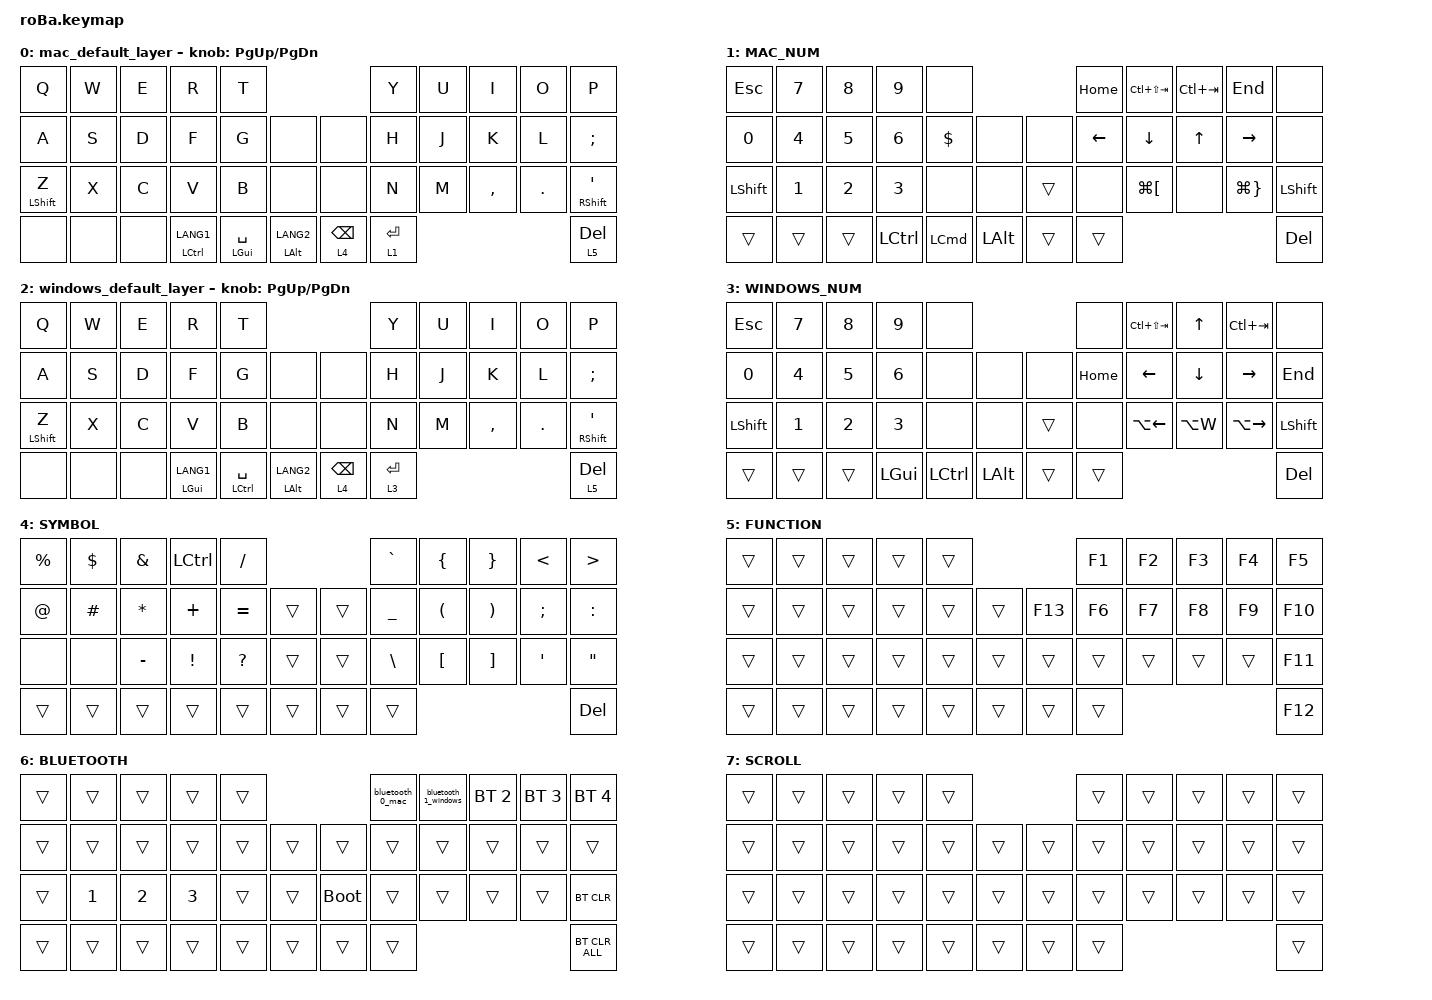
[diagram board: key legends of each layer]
#include <behaviors.dtsi>
#include <dt-bindings/zmk/bt.h>
#include <dt-bindings/zmk/keys.h>
#include <dt-bindings/zmk/pointing.h>

&mt {
    flavor = "balanced";
    quick-tap-ms = <0>;
};

&trackball {
    scroll-layers = <7>;

    // arrows {
    //     layers = <3>;
    //     bindings =
    //         <&kp RIGHT_ARROW>,
    //         <&kp LEFT_ARROW>,
    //         <&kp UP_ARROW>,
    //         <&kp DOWN_ARROW>;
    //     tick = <10>;
    //     wait-ms = <5>;
    //     tap-ms = <5>;
    // };
};

/ {
    combos {
        compatible = "zmk,combos";

        tab {
            bindings = <&kp TAB>;
            key-positions = <13 12>;
        };

        combo_mb1 {
            bindings = <&mkp MB1>;
            key-positions = <18 19>;
        };

        combo_mb2 {
            bindings = <&mkp MB2>;
            key-positions = <19 20>;
        };

        SCROll {
            bindings = <&lt 7 C_AL_JOURNAL>;
            key-positions = <18 20>;
        };

        bluetooth {
            bindings = <&lt 6 LANG2>;
            key-positions = <39 40>;
        };
    };

    macros {
        to_layer_0: to_layer_0 {
            compatible = "zmk,behavior-macro-one-param";
            #binding-cells = <1>;
            bindings = <&to 0 &macro_param_1to1 &kp MACRO_PLACEHOLDER>;
            label = "TO_LAYER_0";
        };

        bluetooth_0_mac: bluetooth_0_mac {
            compatible = "zmk,behavior-macro";
            #binding-cells = <0>;
            bindings = <&to 0>, <&macro_wait_time 200>, <&bt BT_SEL 0>;

            label = "BLUETOOTH_0_MAC";
        };

        bluetooth_1_windows: bluetooth_1_windows {
            compatible = "zmk,behavior-macro";
            #binding-cells = <0>;
            bindings = <&to 2>, <&macro_wait_time 200>, <&bt BT_SEL 1>;

            label = "BLUETOOTH_1_WINDOWS";
        };
    };

    behaviors {
        lt_to_layer_0: lt_to_layer_0 {
            compatible = "zmk,behavior-hold-tap";
            label = "LAYER_TAP_TO_0";
            bindings = <&mo>, <&to_layer_0>;

            #binding-cells = <2>;
            tapping-term-ms = <200>;
        };
    };

    keymap {
        compatible = "zmk,keymap";

        mac_default_layer {
            bindings = <
&kp Q             &kp W  &kp E  &kp R            &kp T                                                    &kp Y        &kp U  &kp I      &kp O    &kp P
&kp A             &kp S  &kp D  &kp F            &kp G               &none               &none            &kp H        &kp J  &kp K      &kp L    &kp SEMICOLON
&mt LEFT_SHIFT Z  &kp X  &kp C  &kp V            &kp B               &none               &none            &kp N        &kp M  &kp COMMA  &kp DOT  &mt RIGHT_SHIFT SQT
&none             &none  &none  &mt LCTRL LANG1  &mt LEFT_GUI SPACE  &mt LALT LANG2      &lt 4 BACKSPACE  &lt 1 ENTER                             &lt 5 DELETE
            >;

            sensor-bindings = <&inc_dec_kp PG_UP PAGE_DOWN>;
        };

        MAC_NUM {
            bindings = <
&kp ESC         &kp NUMBER_7  &kp NUMBER_8  &kp NUMBER_9      &none                                       &kp HOME  &kp LC(LS(TAB))       &kp LC(TAB)   &kp END              &none
&kp NUMBER_0    &kp NUMBER_4  &kp NUMBER_5  &kp NUMBER_6      &kp DOLLAR        &none             &none   &kp LEFT  &kp DOWN              &kp UP_ARROW  &kp RIGHT            &none
&kp LEFT_SHIFT  &kp NUMBER_1  &kp NUMBER_2  &kp NUMBER_3      &none             &none             &trans  &none     &kp LG(LEFT_BRACKET)  &none         &kp LG(RIGHT_BRACE)  &kp LEFT_SHIFT
&trans          &trans        &trans        &kp LEFT_CONTROL  &kp LEFT_COMMAND  &kp LEFT_ALT      &trans  &trans                                                             &kp DELETE
            >;
        };

        windows_default_layer {
            bindings = <
&kp Q             &kp W  &kp E  &kp R               &kp T                                                        &kp Y        &kp U  &kp I      &kp O    &kp P
&kp A             &kp S  &kp D  &kp F               &kp G                   &none               &none            &kp H        &kp J  &kp K      &kp L    &kp SEMICOLON
&mt LEFT_SHIFT Z  &kp X  &kp C  &kp V               &kp B                   &none               &none            &kp N        &kp M  &kp COMMA  &kp DOT  &mt RIGHT_SHIFT SQT
&none             &none  &none  &mt LEFT_GUI LANG1  &mt LEFT_CONTROL SPACE  &mt LALT LANG2      &lt 4 BACKSPACE  &lt 3 ENTER                             &lt 5 DELETE
            >;

            sensor-bindings = <&inc_dec_kp PG_UP PAGE_DOWN>;
        };

        WINDOWS_NUM {
            bindings = <
&kp ESC         &kp NUMBER_7  &kp NUMBER_8  &kp NUMBER_9  &none                                &none     &kp LC(LS(TAB))  &kp UP     &kp LC(TAB)    &none
&kp NUMBER_0    &kp NUMBER_4  &kp NUMBER_5  &kp NUMBER_6  &none      &none             &none   &kp HOME  &kp LEFT         &kp DOWN   &kp RIGHT      &kp END
&kp LEFT_SHIFT  &kp NUMBER_1  &kp NUMBER_2  &kp NUMBER_3  &none      &none             &trans  &none     &kp LA(LEFT)     &kp LA(W)  &kp LA(RIGHT)  &kp LEFT_SHIFT
&trans          &trans        &trans        &kp LEFT_GUI  &kp LCTRL  &kp LEFT_ALT      &trans  &trans                                               &kp DELETE
            >;
        };

        SYMBOL {
            bindings = <
&kp PERCENT  &kp DOLLAR  &kp AMPERSAND  &kp LCTRL        &kp SLASH                         &kp GRAVE       &kp LEFT_BRACE        &kp RIGHT_BRACE        &kp LESS_THAN  &kp GREATER_THAN
&kp AT_SIGN  &kp HASH    &kp ASTERISK   &kp PLUS         &kp EQUAL     &trans      &trans  &kp UNDERSCORE  &kp LEFT_PARENTHESIS  &kp RIGHT_PARENTHESIS  &kp SEMICOLON  &kp COLON
&none        &none       &kp MINUS      &kp EXCLAMATION  &kp QUESTION  &trans      &trans  &kp BACKSLASH   &kp LEFT_BRACKET      &kp RIGHT_BRACKET      &kp SQT        &kp DOUBLE_QUOTES
&trans       &trans      &trans         &trans           &trans        &trans      &trans  &trans                                                                      &kp DELETE
            >;
        };

        FUNCTION {
            bindings = <
&trans  &trans  &trans  &trans  &trans                       &kp F1  &kp F2  &kp F3  &kp F4  &kp F5
&trans  &trans  &trans  &trans  &trans  &trans      &kp F13  &kp F6  &kp F7  &kp F8  &kp F9  &kp F10
&trans  &trans  &trans  &trans  &trans  &trans      &trans   &trans  &trans  &trans  &trans  &kp F11
&trans  &trans  &trans  &trans  &trans  &trans      &trans   &trans                          &kp F12
            >;
        };

        BLUETOOTH {
            bindings = <
&trans  &trans        &trans        &trans        &trans                           &bluetooth_0_mac  &bluetooth_1_windows  &bt BT_SEL 2  &bt BT_SEL 3  &bt BT_SEL 4
&trans  &trans        &trans        &trans        &trans  &trans      &trans       &trans            &trans                &trans        &trans        &trans
&trans  &kp NUMBER_1  &kp NUMBER_2  &kp NUMBER_3  &trans  &trans      &bootloader  &trans            &trans                &trans        &trans        &bt BT_CLR
&trans  &trans        &trans        &trans        &trans  &trans      &trans       &trans                                                              &bt BT_CLR_ALL
            >;
        };

        SCROLL {
            bindings = <
&trans  &trans  &trans  &trans  &trans                      &trans  &trans  &trans  &trans  &trans
&trans  &trans  &trans  &trans  &trans  &trans      &trans  &trans  &trans  &trans  &trans  &trans
&trans  &trans  &trans  &trans  &trans  &trans      &trans  &trans  &trans  &trans  &trans  &trans
&trans  &trans  &trans  &trans  &trans  &trans      &trans  &trans                          &trans
            >;
        };
    };
};
